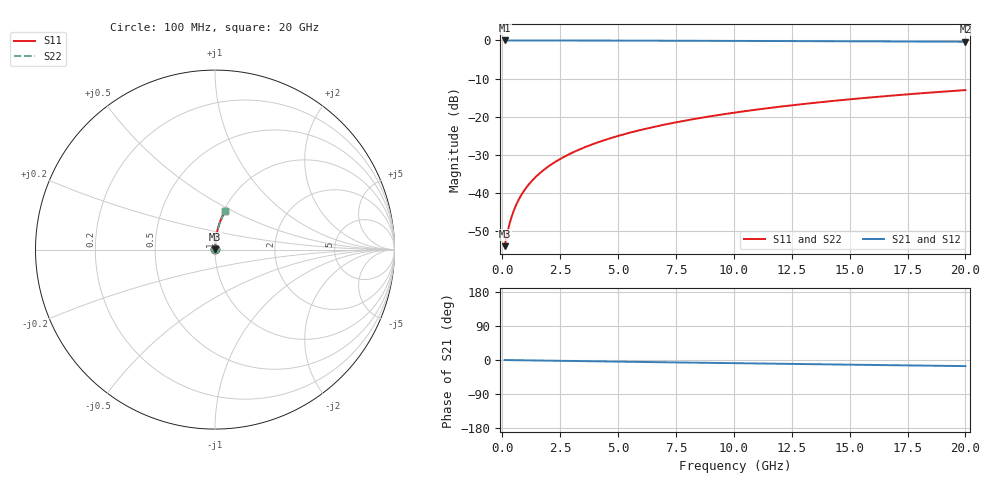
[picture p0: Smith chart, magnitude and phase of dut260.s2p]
! Touchstone file exported from HFSS 2024.1.0
!  File:  C:/UserFiles/LocalFiles/RDL_TSV_Batchsim/temp_RDL_bottom_260_1778702120.aedt
!  Generated:  03:57:52 AM May 14, 2026
!  Design:  RDL_bottom
!  Project:  temp_RDL_bottom_260_1778702120
!  Setup:  Setup1
!  Solution:  Sweep
! Variables:
!  dtsv = 10.80580581um
!  hbump = 3um
!  htsv = 52.33um
!  ldown = 151.27um
!  lrdl = 100um
!  p = 40
!  p1 = 52.68um
!  rhole = 1um
!  t = 450um
!  tdown = 3.12um
!  trdl = 3.915915916um
!  wdown = 11.7um
!  wrdl = 20um
# GHz S MA R 50.000000
! Terminal data exported
! Port[1] = RDL1_T1
! Port[2] = RDL1_T2
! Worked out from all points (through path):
!   200 points, 100 MHz to 20 GHz, reference 50 ohm
!   highest |S21| = -0.01 dB at 100 MHz (marker M1); lowest = -0.4 dB at 20 GHz (marker M2)
!   group delay of S21, straight-line fit = 2.23 ps
!   lowest |S11| = -54.0 dB at 100 MHz (marker M3), VSWR 1.00, Z = 50.2 + j0.115 ohm
!   |S11| at or under -10 dB: start of sweep to end of sweep
!   |S22| runs from -54.0 to -13.0 dB; largest |S21 - S12| = 2.1e-15
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0.1  0.002007 34.7  0.9984 -0.1  0.9984 -0.1  0.002007 34.7
! Gamma 0 0 0 0
! Port Impedance 50 0 50 0
0.2  0.002827 53.9  0.9983 -0.2  0.9983 -0.2  0.002827 53.9
0.3  0.003812 63.6  0.9983 -0.3  0.9983 -0.3  0.003812 63.6
0.4  0.004856 69.2  0.9983 -0.4  0.9983 -0.4  0.004856 69.2
0.5  0.005923 72.7  0.9982 -0.4  0.9982 -0.4  0.005923 72.7
0.6  0.007001 75.2  0.9982 -0.5  0.9982 -0.5  0.007001 75.2
0.8  0.009171 78.3  0.9981 -0.7  0.9981 -0.7  0.009171 78.3
1.1  0.01245 81.0  0.998 -1.0  0.998 -1.0  0.01245 81.0
1.5  0.01684 82.9  0.9978 -1.3  0.9978 -1.3  0.01684 82.9
1.8  0.02015 83.7  0.9976 -1.6  0.9976 -1.6  0.02015 83.7
2.1  0.02346 84.3  0.9974 -1.8  0.9974 -1.8  0.02346 84.3
2.7  0.03013 84.9  0.9969 -2.3  0.9969 -2.3  0.03013 84.9
3.5  0.03905 85.3  0.9961 -3.0  0.9961 -3.0  0.03905 85.3
4.2  0.0469 85.3  0.9953 -3.6  0.9953 -3.6  0.0469 85.3
5  0.0559 85.2  0.9942 -4.3  0.9942 -4.3  0.0559 85.2
5.9  0.06608 84.9  0.9929 -5.1  0.9929 -5.1  0.06608 84.9
6.8  0.07629 84.4  0.9914 -5.8  0.9914 -5.8  0.07629 84.4
8.3  0.09335 83.6  0.9887 -7.0  0.9887 -7.0  0.09335 83.6
10.1  0.1138 82.4  0.9851 -8.5  0.9851 -8.5  0.1138 82.4
13.4  0.1511 80.0  0.9777 -11.1  0.9777 -11.1  0.1511 80.0
16.7  0.1876 77.5  0.9695 -13.6  0.9695 -13.6  0.1876 77.5
20  0.2232 74.9  0.9605 -16.1  0.9605 -16.1  0.2232 74.9
